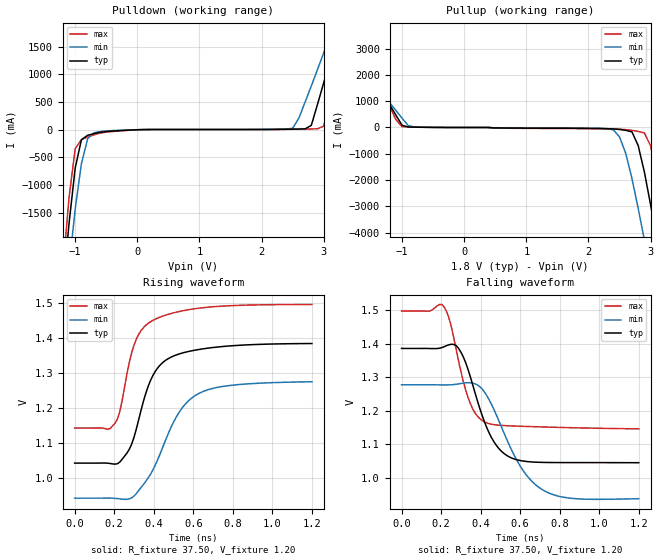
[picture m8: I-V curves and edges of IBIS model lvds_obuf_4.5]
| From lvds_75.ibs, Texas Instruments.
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|   Model lvds_obuf_4.5
[Model]   lvds_obuf_4.5
Model_type   Output
Polarity   Non-Inverting
Vmeas =   1.2000V
C_comp   4.00pF   4.00pF   4.00pF
[Temperature Range]   25.00   0.12k   -40.00
[Voltage Range]   1.80V   1.65V   1.95V
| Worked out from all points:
|   slope of the pulldown table from 0 to 0.27 V, typ, clamps not added: 65.9 ohm
|   slope of the pullup table from 0 to 0.27 V, typ, clamps not added: 20 kohm
|   rising waveform, R_fixture 37.50, V_fixture 1.20: 20-80 % time 125ps typ, 174ps min, 104ps max; typ from 1.04 V to 1.38 V
|   falling waveform, R_fixture 37.50, V_fixture 1.20: 20-80 % time 122ps typ, 172ps min, 91.3ps max; typ from 1.39 V to 1.05 V
[Pulldown]
| voltage   I(typ)   I(min)   I(max)
-1.8V     -11.2A     -11.5A     -11.55A
-1.2V     -2.94A     -3.65A     -2.55A
-1.1V     -1.7A      -2.49A     -1.23A
-1V       -690mA     -1.43A     -340mA
-900mV    -180mA     -610mA     -180mA
-800mV    -100mA     -160mA     -130mA
2.5V      11.05mA    26.93mA    8.52mA
2.8V      78.82mA    790mA      14.35mA
3V        850mA      1.39A      65.46mA
3.2V      1.64A      2A         1.04A
3.4V      2.44A      2.87A      2.05A
3.6V      3.25A      7.06A      3.06A
[Pullup]
| voltage   I(typ)   I(min)   I(max)
-1.8V     3.24A      3.32A      3.83A
-1.6V     2.43A      2.15A      2.81A
-1V       81.8mA     350mA      27.41mA
2.4V      -56.34mA   -88.87mA   -57.69mA
2.5V      -76.52mA   -360mA     -64.79mA
2.7V      -170mA     -1.95A     -110mA
2.9V      -1.7A      -4.28A     -210mA
3V        -2.95A     -5.51A     -700mA
3.1V      -4.27A     -6.77A     -1.86A
3.2V      -5.64A     -8.04A     -3.27A
3.3V      -7.02A     -9.34A     -4.74A
3.6V      -11.26A    -15.13A    -9.3A
[Ramp]
| variable   typ   min   max
dV/dt_r   0.56/0.15n   0.38/0.20n   0.69/0.11n
dV/dt_f   0.13/92.29p   0.12/0.14n   0.14/71.93p
R_load = 37.50
[Rising Waveform]
R_fixture = 37.50
V_fixture = 1.20
V_fixture_min = 1.10
V_fixture_max = 1.30
| time   V(typ)   V(min)   V(max)
0s        1.043V     943.5mV    1.143V
168ps     1.043V     943.7mV    1.14V
204ps     1.04V      942.9mV    1.157V
228ps     1.046V     941.5mV    1.189V
300ps     1.116V     949.4mV    1.379V
360ps     1.243V     991.4mV    1.436V
396ps     1.293V     1.024V     1.45V
516ps     1.352V     1.177V     1.474V
624ps     1.367V     1.241V     1.485V
1.2ns     1.384V     1.275V     1.495V
[Falling Waveform]
R_fixture = 37.50
V_fixture = 1.20
V_fixture_min = 1.10
V_fixture_max = 1.30
| time   V(typ)   V(min)   V(max)
0s        1.385V     1.277V     1.497V
216ps     1.391V     1.277V     1.508V
252ps     1.398V     1.277V     1.45V
300ps     1.375V     1.281V     1.318V
360ps     1.277V     1.282V     1.206V
420ps     1.166V     1.256V     1.167V
528ps     1.069V     1.121V     1.156V
612ps     1.051V     1.025V     1.154V
696ps     1.047V     971.9mV    1.152V
1.2ns     1.046V     938.8mV    1.146V
